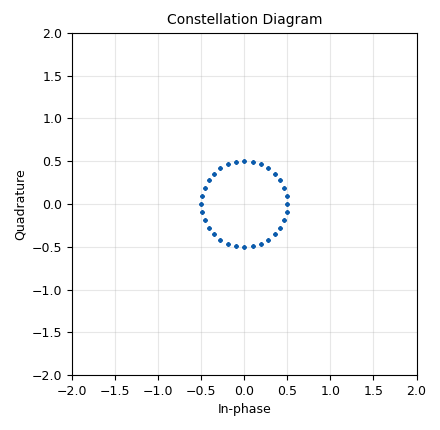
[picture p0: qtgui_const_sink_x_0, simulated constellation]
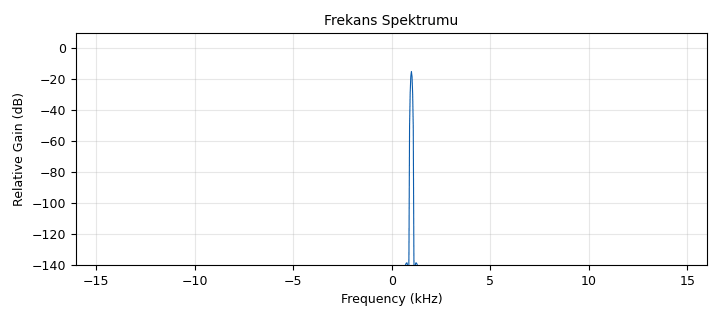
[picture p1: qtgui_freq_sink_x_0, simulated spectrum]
options:
  parameters:
    author: Pc
    generate_options: qt_gui
    id: Channel_capasity
    output_language: python
    title: Not titled yet
  states: {}

blocks:
- name: noise_voltage
  id: variable_qtgui_range
  parameters:
    label: Gürültü Voltajı
    start: '0'
    step: '0.01'
    stop: '1'
    value: '0'
  states: {}
- name: samp_rate
  id: variable
  parameters:
    value: '32000'
  states: {}
- name: analog_noise_source_x_0
  id: analog_noise_source_x
  parameters:
    amp: noise_voltage
    noise_type: analog.GR_GAUSSIAN
    seed: '0'
    type: complex
  states: {}
- name: analog_sig_source_x_0
  id: analog_sig_source_x
  parameters:
    amp: '0.5'
    freq: '1000'
    offset: '0'
    phase: '0'
    samp_rate: samp_rate
    type: complex
    waveform: analog.GR_COS_WAVE
  states: {}
- name: blocks_add_xx_0
  id: blocks_add_xx
  parameters:
    type: complex
  states: {}
- name: blocks_throttle2_0
  id: blocks_throttle2
  parameters:
    samples_per_second: samp_rate
    type: complex
  states: {}
- name: qtgui_const_sink_x_0
  id: qtgui_const_sink_x
  parameters:
    name: '"Constellation Diagram"'
    size: '1024'
    type: complex
  states: {}
- name: qtgui_freq_sink_x_0
  id: qtgui_freq_sink_x
  parameters:
    bw: samp_rate
    fc: '0'
    fftsize: '1024'
    name: '"Frekans Spektrumu"'
    type: complex
  states: {}

connections:
- [analog_noise_source_x_0, '0', blocks_add_xx_0, '0']
- [analog_sig_source_x_0, '0', blocks_add_xx_0, '1']
- [blocks_add_xx_0, '0', blocks_throttle2_0, '0']
- [blocks_throttle2_0, '0', qtgui_const_sink_x_0, '0']
- [blocks_throttle2_0, '0', qtgui_freq_sink_x_0, '0']

metadata:
  file_format: 1
  grc_version: 3.10.12.0
